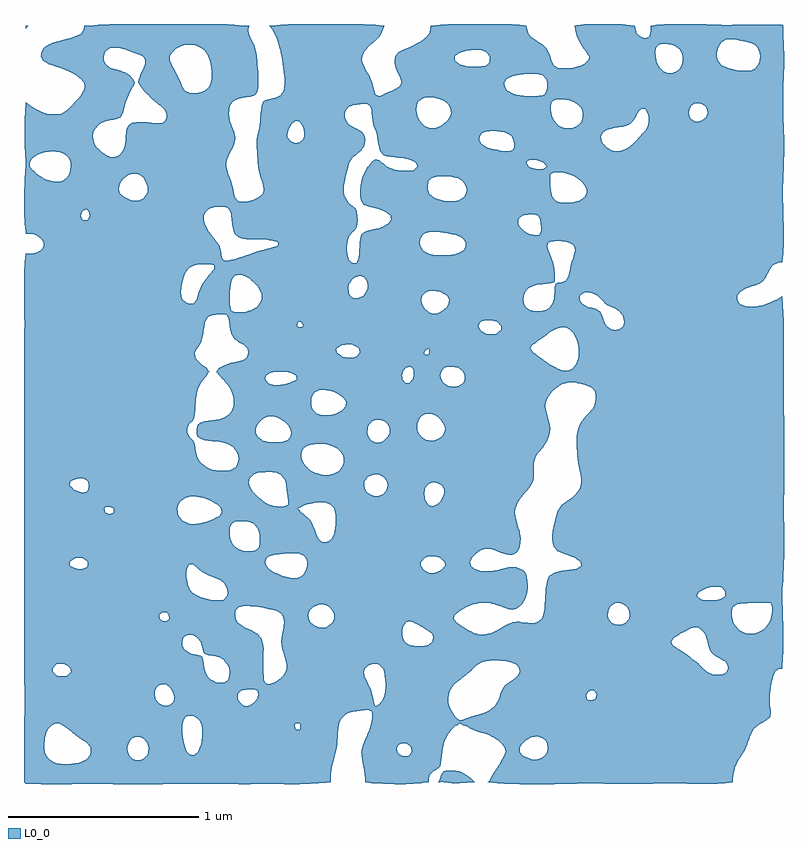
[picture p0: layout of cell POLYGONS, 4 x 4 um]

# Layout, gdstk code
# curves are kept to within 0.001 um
import gdstk
lib = gdstk.Library(unit=1e-6, precision=1e-09)
def P(c, l, *ps):  # polygons
    for p in ps: c.add(gdstk.Polygon(p, *l))
L0_0 = (0, 0)

polygons = lib.new_cell('POLYGONS')
P(polygons, L0_0, [(-1.81,-2),(-1.27,-2),(-1.13,-1.998),(-0.87,-2),(-0.55,-2),(-0.47,-1.997),(-0.386,-1.99),(-0.385,-1.95),(-0.38,-1.915),(-2,-1.915),(-1.998,-1.99),(-1.99,-1.998),(-1.91,-2)],
  [(0.01,-2),(0.07,-1.997),(0.13,-1.99),(0.13,-1.969),(0.136,-1.95),(0.15,-1.935),(0.17,-1.925),(0.182,-1.915),(-0.212,-1.915),(-0.209,-1.93),(-0.204,-1.99),(-0.17,-1.995),(-0.09,-1.999)],
  [(0.73,-2),(0.87,-1.999),(0.93,-1.997),(1.03,-1.997),(1.09,-1.999),(1.27,-1.999),(1.37,-1.995),(1.43,-1.995),(1.49,-1.998),(1.59,-1.999),(1.69,-1.996),(1.731,-1.99),(1.733,-1.95),(1.741,-1.915),(0.49,-1.915),(0.45,-1.982),(0.442,-1.99),(0.55,-1.999)],
  [(0.53,-1.843),(0.528,-1.85),(0.518,-1.87),(0.49,-1.915),(1.741,-1.915),(1.75,-1.893),(1.77,-1.858),(1.789,-1.83),(1.799,-1.81),(1.82,-1.75),(0.71,-1.75),(0.73,-1.758),(0.744,-1.77),(0.75,-1.779),(0.755,-1.79),(0.757,-1.81),(0.754,-1.83),(0.75,-1.838),(0.741,-1.85),(0.73,-1.859),(0.71,-1.869),(0.69,-1.872),(0.67,-1.87),(0.65,-1.863),(0.626,-1.85),(0.609,-1.83),(0.608,-1.81),(0.62,-1.79),(0.641,-1.77),(0.67,-1.754),(0.687,-1.75),(0.463,-1.75),(0.47,-1.753),(0.496,-1.77),(0.518,-1.79),(0.531,-1.81),(0.535,-1.83)],
  [(-0.223,-1.85),(-0.212,-1.915),(0.182,-1.915),(0.189,-1.91),(0.19,-1.907),(0.194,-1.89),(0.201,-1.83),(0.208,-1.79),(0.224,-1.75),(-0.197,-1.75),(-0.215,-1.79),(-0.221,-1.81),(-0.038,-1.81),(-0.03,-1.796),(-0.023,-1.79),(-0.01,-1.785),(0.01,-1.785),(0.019,-1.79),(0.03,-1.799),(0.037,-1.81),(0.04,-1.83),(0.03,-1.846),(0.025,-1.85),(0.01,-1.854),(-0.01,-1.852),(-0.015,-1.85),(-0.03,-1.838),(-0.036,-1.83),(-0.038,-1.81),(-0.221,-1.81),(-0.224,-1.83)],
  [(-1.89,-1.757),(-1.888,-1.75),(-1.999,-1.75),(-2,-1.915),(-0.38,-1.915),(-0.355,-1.81),(-0.352,-1.79),(-0.35,-1.75),(-1.061,-1.75),(-1.07,-1.797),(-1.084,-1.83),(-1.09,-1.837),(-1.11,-1.848),(-1.13,-1.844),(-1.143,-1.83),(-1.152,-1.81),(-1.164,-1.75),(-1.718,-1.75),(-1.688,-1.77),(-1.662,-1.79),(-1.65,-1.81),(-1.456,-1.81),(-1.45,-1.785),(-1.441,-1.77),(-1.43,-1.76),(-1.41,-1.751),(-1.39,-1.752),(-1.37,-1.763),(-1.363,-1.77),(-1.349,-1.79),(-1.344,-1.81),(-1.345,-1.83),(-1.35,-1.845),(-1.353,-1.85),(-1.37,-1.868),(-1.39,-1.876),(-1.41,-1.876),(-1.43,-1.867),(-1.446,-1.85),(-1.455,-1.83),(-1.456,-1.81),(-1.65,-1.81),(-1.648,-1.83),(-1.654,-1.85),(-1.67,-1.87),(-1.69,-1.88),(-1.721,-1.89),(-1.73,-1.892),(-1.77,-1.895),(-1.81,-1.894),(-1.831,-1.89),(-1.85,-1.883),(-1.87,-1.868),(-1.883,-1.85),(-1.891,-1.83),(-1.894,-1.81),(-1.894,-1.79)],
  [(-0.102,-1.53),(-0.11,-1.554),(-0.13,-1.581),(-0.15,-1.591),(-0.16,-1.57),(-0.166,-1.53),(-0.766,-1.53),(-0.772,-1.55),(-0.79,-1.572),(-0.81,-1.585),(-0.829,-1.59),(-0.85,-1.585),(-0.865,-1.57),(-0.874,-1.55),(-0.874,-1.53),(-1.211,-1.53),(-1.209,-1.55),(-1.215,-1.57),(-1.23,-1.584),(-1.25,-1.588),(-1.27,-1.585),(-1.29,-1.575),(-1.296,-1.57),(-1.309,-1.55),(-1.313,-1.53),(-1.996,-1.53),(-1.999,-1.75),(-1.888,-1.75),(-1.882,-1.73),(-1.87,-1.707),(-1.85,-1.687),(-1.83,-1.679),(-1.81,-1.682),(-1.79,-1.694),(-1.718,-1.75),(-1.164,-1.75),(-1.167,-1.71),(-1.163,-1.67),(-1.153,-1.65),(-1.15,-1.647),(-1.13,-1.64),(-1.11,-1.642),(-1.09,-1.652),(-1.073,-1.67),(-1.065,-1.69),(-0.575,-1.69),(-0.57,-1.679),(-0.55,-1.681),(-0.546,-1.69),(-0.547,-1.71),(-0.55,-1.715),(-0.57,-1.713),(-0.572,-1.71),(-0.575,-1.69),(-1.065,-1.69),(-1.062,-1.71),(-1.061,-1.75),(-0.35,-1.75),(-0.347,-1.71),(-0.338,-1.67),(-0.326,-1.65),(-0.31,-1.635),(-0.29,-1.625),(-0.27,-1.62),(-0.19,-1.61),(-0.17,-1.616),(-0.168,-1.63),(-0.168,-1.65),(-0.174,-1.69),(-0.18,-1.71),(-0.197,-1.75),(0.224,-1.75),(0.23,-1.739),(0.25,-1.713),(0.27,-1.694),(0.283,-1.69),(0.29,-1.681),(0.33,-1.697),(0.353,-1.71),(0.407,-1.73),(0.45,-1.743),(0.463,-1.75),(1.82,-1.75),(1.83,-1.728),(1.842,-1.71),(1.85,-1.701),(1.87,-1.686),(1.899,-1.67),(1.926,-1.65),(1.931,-1.63),(1.926,-1.59),(1.926,-1.53),(1.015,-1.53),(1.008,-1.55),(0.99,-1.559),(0.97,-1.558),(0.961,-1.55),(0.959,-1.53),(0.506,-1.53),(0.5,-1.55),(0.491,-1.57),(0.477,-1.59),(0.45,-1.613),(0.43,-1.623),(0.338,-1.65),(0.33,-1.655),(0.31,-1.663),(0.29,-1.664),(0.27,-1.647),(0.246,-1.61),(0.234,-1.57),(0.232,-1.55),(0.235,-1.53)],
  [(-2,-1.29),(-2,-1.33),(-1.063,-1.33),(-1.07,-1.325),(-1.09,-1.319),(-1.13,-1.311),(-1.15,-1.297),(-1.156,-1.29),(-1.166,-1.27),(-1.168,-1.25),(-1.162,-1.23),(-1.15,-1.22),(-1.13,-1.215),(-1.11,-1.218),(-1.087,-1.23),(-1.07,-1.252),(-1.054,-1.31),(-1.05,-1.315),(-1.03,-1.322),(-0.982,-1.33),(-0.74,-1.33),(-0.739,-1.29),(-0.745,-1.25),(-0.754,-1.23),(-0.77,-1.212),(-0.79,-1.198),(-0.805,-1.19),(-0.85,-1.17),(-0.874,-1.15),(-2,-1.15)],
  [(0.122,-1.27),(0.11,-1.273),(0.09,-1.275),(0.05,-1.273),(0.03,-1.269),(0.01,-1.257),(0.003,-1.25),(-0.007,-1.23),(-0.01,-1.213),(-0.01,-1.19),(-0.003,-1.17),(0.009,-1.15),(-0.377,-1.15),(-0.39,-1.163),(-0.401,-1.17),(-0.41,-1.174),(-0.43,-1.177),(-0.45,-1.174),(-0.462,-1.17),(-0.47,-1.166),(-0.49,-1.15),(-0.631,-1.15),(-0.645,-1.25),(-0.644,-1.27),(-0.64,-1.29),(-0.628,-1.33),(1.504,-1.33),(1.415,-1.27),(1.406,-1.25),(1.421,-1.23),(1.451,-1.21),(1.51,-1.181),(1.53,-1.176),(1.55,-1.177),(1.57,-1.192),(1.582,-1.21),(1.592,-1.23),(1.608,-1.29),(1.62,-1.31),(1.63,-1.32),(1.645,-1.33),(1.994,-1.33),(1.996,-1.29),(1.995,-1.15),(1.923,-1.15),(1.909,-1.17),(1.886,-1.19),(1.87,-1.199),(1.85,-1.206),(1.83,-1.209),(1.81,-1.209),(1.79,-1.204),(1.77,-1.194),(1.745,-1.17),(1.734,-1.15),(1.168,-1.15),(1.15,-1.158),(1.13,-1.161),(1.11,-1.159),(1.092,-1.15),(0.694,-1.15),(0.67,-1.153),(0.63,-1.15),(0.568,-1.15),(0.55,-1.156),(0.47,-1.2),(0.45,-1.208),(0.43,-1.213),(0.41,-1.215),(0.39,-1.212),(0.37,-1.206),(0.35,-1.197),(0.304,-1.17),(0.29,-1.158),(0.277,-1.15),(0.052,-1.15),(0.123,-1.19),(0.149,-1.21),(0.153,-1.23),(0.148,-1.25),(0.13,-1.266)],
  [(-0.631,-1.15),(-0.49,-1.15),(-0.502,-1.13),(-0.505,-1.11),(-0.498,-1.09),(-0.49,-1.079),(-0.48,-1.07),(-0.47,-1.064),(-0.45,-1.057),(-0.43,-1.055),(-0.41,-1.059),(-0.39,-1.07),(-0.375,-1.09),(-0.368,-1.11),(-0.368,-1.13),(-0.377,-1.15),(0.009,-1.15),(0.03,-1.144),(0.052,-1.15),(0.277,-1.15),(0.262,-1.13),(0.268,-1.11),(0.292,-1.09),(0.324,-1.07),(0.37,-1.052),(0.41,-1.045),(0.45,-1.047),(0.49,-1.058),(0.55,-1.081),(0.57,-1.084),(0.59,-1.078),(0.61,-1.064),(0.63,-1.038),(0.644,-1.01),(0.648,-0.99),(-0.928,-0.99),(-0.93,-1.01),(-0.948,-1.03),(-0.97,-1.034),(-1.01,-1.032),(-1.05,-1.023),(-1.085,-1.01),(-1.118,-0.99),(-2,-0.99),(-2,-1.11),(-1.287,-1.11),(-1.27,-1.095),(-1.25,-1.097),(-1.237,-1.11),(-1.236,-1.13),(-1.25,-1.144),(-1.27,-1.143),(-1.285,-1.13),(-1.287,-1.11),(-2,-1.11),(-2,-1.15),(-0.874,-1.15),(-0.885,-1.13),(-0.889,-1.11),(-0.887,-1.09),(-0.87,-1.069),(-0.85,-1.064),(-0.83,-1.063),(-0.79,-1.065),(-0.754,-1.07),(-0.69,-1.083),(-0.667,-1.09),(-0.65,-1.101),(-0.64,-1.11),(-0.632,-1.13)],
  [(0.742,-1.05),(0.739,-1.09),(0.73,-1.12),(0.724,-1.13),(0.71,-1.143),(0.694,-1.15),(1.092,-1.15),(1.076,-1.13),(1.072,-1.11),(1.074,-1.09),(1.083,-1.07),(1.09,-1.061),(1.107,-1.05),(1.13,-1.046),(1.148,-1.05),(1.17,-1.065),(1.185,-1.09),(1.188,-1.11),(1.185,-1.13),(1.168,-1.15),(1.734,-1.15),(1.728,-1.13),(1.725,-1.11),(1.725,-1.09),(1.729,-1.07),(1.75,-1.054),(1.769,-1.05),(1.79,-1.048),(1.91,-1.045),(1.932,-1.05),(1.938,-1.07),(1.935,-1.11),(1.931,-1.13),(1.923,-1.15),(1.995,-1.15),(1.991,-0.99),(1.691,-0.99),(1.69,-1.012),(1.67,-1.026),(1.65,-1.031),(1.61,-1.034),(1.59,-1.034),(1.57,-1.031),(1.566,-1.03),(1.55,-1.019),(1.542,-1.01),(1.55,-0.99),(0.745,-0.99)],
  [(0.61,-1.147),(0.59,-1.146),(0.57,-1.149),(0.568,-1.15),(0.627,-1.15)],
  [(0.57,-0.793),(0.578,-0.79),(0.536,-0.79),(0.55,-0.794)],
  [(1.992,-0.97),(1.999,-0.85),(2,-0.79),(0.849,-0.79),(0.9,-0.81),(0.91,-0.816),(0.929,-0.83),(0.934,-0.85),(0.93,-0.854),(0.91,-0.866),(0.897,-0.87),(0.85,-0.875),(0.81,-0.882),(0.787,-0.89),(0.77,-0.901),(0.762,-0.91),(0.754,-0.93),(0.75,-0.948),(0.745,-0.99),(1.55,-0.99),(1.59,-0.97),(1.63,-0.961),(1.65,-0.961),(1.67,-0.965),(1.678,-0.97),(1.691,-0.99),(1.991,-0.99)],
  [(-0.71,-0.801),(-0.657,-0.79),(-2,-0.79),(-2,-0.83),(-1.76,-0.83),(-1.75,-0.822),(-1.73,-0.813),(-1.715,-0.81),(-1.704,-0.81),(-1.69,-0.812),(-1.67,-0.824),(-1.665,-0.83),(-1.664,-0.85),(-1.67,-0.858),(-1.69,-0.868),(-1.71,-0.869),(-1.73,-0.865),(-1.75,-0.856),(-1.759,-0.85),(-1.76,-0.83),(-2,-0.83),(-2,-0.99),(-1.118,-0.99),(-1.13,-0.973),(-1.137,-0.95),(-1.142,-0.93),(-1.146,-0.89),(-1.143,-0.87),(-1.135,-0.85),(-1.13,-0.845),(-1.11,-0.844),(-1.09,-0.858),(-1.079,-0.87),(-1.051,-0.89),(-1.03,-0.901),(-0.97,-0.924),(-0.962,-0.93),(-0.942,-0.95),(-0.932,-0.97),(-0.928,-0.99),(0.648,-0.99),(0.65,-0.95),(0.647,-0.91),(0.64,-0.89),(0.63,-0.877),(0.61,-0.866),(0.59,-0.86),(0.57,-0.859),(0.55,-0.86),(0.51,-0.87),(0.47,-0.878),(0.45,-0.88),(0.41,-0.88),(0.39,-0.875),(0.37,-0.866),(0.351,-0.85),(0.347,-0.83),(0.357,-0.81),(0.375,-0.79),(-0.546,-0.79),(-0.53,-0.797),(-0.517,-0.81),(-0.51,-0.83),(-0.51,-0.85),(0.088,-0.85),(0.089,-0.83),(0.108,-0.81),(0.13,-0.802),(0.15,-0.8),(0.17,-0.803),(0.19,-0.81),(0.214,-0.83),(0.216,-0.85),(0.201,-0.87),(0.19,-0.877),(0.17,-0.886),(0.153,-0.89),(0.13,-0.888),(0.11,-0.878),(0.1,-0.87),(0.088,-0.85),(-0.51,-0.85),(-0.515,-0.87),(-0.524,-0.89),(-0.53,-0.898),(-0.55,-0.913),(-0.57,-0.918),(-0.59,-0.917),(-0.63,-0.908),(-0.675,-0.89),(-0.71,-0.87),(-0.725,-0.85),(-0.729,-0.83),(-0.723,-0.81)],
  [(2,-0.77),(1.999,-0.53),(0.831,-0.53),(0.816,-0.55),(0.807,-0.57),(0.79,-0.63),(0.78,-0.69),(0.779,-0.71),(0.782,-0.73),(0.79,-0.752),(0.805,-0.77),(0.81,-0.774),(0.83,-0.784),(0.849,-0.79),(2,-0.79)],
  [(-0.53,-0.536),(-0.517,-0.53),(-0.61,-0.53),(-0.63,-0.538),(-0.65,-0.54),(-0.69,-0.536),(-0.71,-0.53),(-0.98,-0.53),(-0.961,-0.55),(-0.958,-0.57),(-0.972,-0.59),(-1.013,-0.61),(-1.05,-0.623),(-1.083,-0.63),(-1.11,-0.632),(-1.13,-0.63),(-1.15,-0.623),(-1.171,-0.61),(-1.186,-0.59),(-1.192,-0.57),(-1.193,-0.55),(-1.187,-0.53),(-1.999,-0.53),(-1.999,-0.55),(-1.578,-0.55),(-1.57,-0.542),(-1.55,-0.54),(-1.528,-0.55),(-1.528,-0.57),(-1.53,-0.573),(-1.55,-0.579),(-1.573,-0.57),(-1.578,-0.55),(-1.999,-0.55),(-1.999,-0.67),(-0.918,-0.67),(-0.916,-0.65),(-0.906,-0.63),(-0.89,-0.62),(-0.87,-0.616),(-0.85,-0.616),(-0.83,-0.617),(-0.81,-0.622),(-0.79,-0.631),(-0.772,-0.65),(-0.77,-0.654),(-0.764,-0.67),(-0.76,-0.69),(-0.759,-0.71),(-0.763,-0.75),(-0.77,-0.763),(-0.78,-0.77),(-0.79,-0.773),(-0.83,-0.775),(-0.85,-0.772),(-0.87,-0.764),(-0.89,-0.75),(-0.906,-0.73),(-0.914,-0.71),(-0.918,-0.67),(-1.999,-0.67),(-2,-0.79),(-0.657,-0.79),(-0.61,-0.786),(-0.57,-0.786),(-0.546,-0.79),(0.375,-0.79),(0.39,-0.778),(0.41,-0.766),(0.43,-0.761),(0.45,-0.762),(0.47,-0.766),(0.53,-0.789),(0.578,-0.79),(0.59,-0.784),(0.602,-0.77),(0.61,-0.75),(0.613,-0.73),(0.614,-0.71),(0.612,-0.69),(0.608,-0.67),(0.595,-0.63),(0.585,-0.59),(0.584,-0.57),(0.586,-0.55),(0.593,-0.53),(0.172,-0.53),(0.15,-0.537),(0.13,-0.532),(0.128,-0.53),(-0.386,-0.53),(-0.367,-0.55),(-0.361,-0.57),(-0.358,-0.61),(-0.361,-0.65),(-0.369,-0.69),(-0.38,-0.71),(-0.39,-0.719),(-0.41,-0.727),(-0.43,-0.727),(-0.45,-0.712),(-0.474,-0.65),(-0.49,-0.618),(-0.51,-0.595),(-0.53,-0.577),(-0.544,-0.57),(-0.55,-0.558),(-0.56,-0.55)],
  [(1.999,-0.51),(2,-0.336),(0.922,-0.336),(0.93,-0.375),(0.933,-0.41),(0.93,-0.43),(0.922,-0.45),(0.908,-0.47),(0.89,-0.488),(0.831,-0.53),(1.999,-0.53)],
  [(-2,-0.47),(-1.999,-0.53),(-1.187,-0.53),(-1.174,-0.51),(-1.15,-0.494),(-1.13,-0.487),(-1.11,-0.486),(-1.09,-0.487),(-1.05,-0.497),(-1.017,-0.51),(-0.98,-0.53),(-0.71,-0.53),(-0.73,-0.52),(-0.75,-0.505),(-0.768,-0.49),(-0.788,-0.47),(-0.804,-0.45),(-0.814,-0.43),(-0.816,-0.41),(-0.811,-0.39),(-0.79,-0.37),(-0.77,-0.363),(-0.71,-0.357),(-0.67,-0.363),(-0.65,-0.372),(-0.63,-0.393),(-0.623,-0.41),(-0.62,-0.43),(-0.21,-0.43),(-0.208,-0.41),(-0.197,-0.39),(-0.19,-0.384),(-0.17,-0.374),(-0.15,-0.37),(-0.13,-0.373),(-0.11,-0.383),(-0.102,-0.39),(-0.09,-0.406),(-0.088,-0.41),(-0.085,-0.43),(-0.09,-0.448),(-0.105,-0.47),(-0.11,-0.474),(-0.13,-0.484),(-0.15,-0.486),(-0.17,-0.481),(-0.189,-0.47),(-0.204,-0.45),(-0.21,-0.43),(-0.62,-0.43),(-0.609,-0.51),(-0.61,-0.53),(-0.517,-0.53),(-0.45,-0.517),(-0.43,-0.517),(-0.41,-0.52),(-0.39,-0.527),(-0.386,-0.53),(0.128,-0.53),(0.115,-0.51),(0.108,-0.49),(0.106,-0.47),(0.109,-0.45),(0.119,-0.43),(0.13,-0.419),(0.15,-0.413),(0.17,-0.415),(0.19,-0.423),(0.201,-0.43),(0.212,-0.45),(0.212,-0.47),(0.205,-0.49),(0.19,-0.514),(0.172,-0.53),(0.593,-0.53),(0.603,-0.51),(0.617,-0.49),(0.668,-0.43),(0.678,-0.41),(0.683,-0.39),(0.684,-0.37),(0.682,-0.336),(-0.33,-0.336),(-0.342,-0.35),(-0.35,-0.356),(-0.37,-0.366),(-0.39,-0.372),(-0.41,-0.374),(-0.43,-0.373),(-0.47,-0.361),(-0.49,-0.35),(-0.508,-0.336),(-0.89,-0.336),(-0.91,-0.346),(-0.928,-0.35),(-0.95,-0.352),(-0.99,-0.349),(-1.01,-0.345),(-1.032,-0.336),(-1.999,-0.336),(-2,-0.43),(-1.758,-0.43),(-1.756,-0.41),(-1.75,-0.405),(-1.73,-0.395),(-1.71,-0.39),(-1.69,-0.392),(-1.67,-0.401),(-1.663,-0.41),(-1.658,-0.43),(-1.661,-0.45),(-1.67,-0.462),(-1.69,-0.467),(-1.71,-0.463),(-1.73,-0.455),(-1.739,-0.45),(-1.758,-0.43),(-2,-0.43)],
  [(-1.999,-0.17),(-1.999,-0.336),(-1.032,-0.336),(-1.05,-0.326),(-1.07,-0.31),(-1.084,-0.29),(-1.091,-0.27),(-1.102,-0.21),(-1.112,-0.19),(-1.13,-0.172),(-1.14,-0.15),(-1.141,-0.13),(-1.133,-0.11),(-1.125,-0.099),(-1.999,-0.099)],
  [(-1.088,-0.17),(-1.07,-0.184),(-1.05,-0.19),(-0.97,-0.199),(-0.95,-0.203),(-0.929,-0.21),(-0.91,-0.22),(-0.896,-0.23),(-0.881,-0.25),(-0.873,-0.27),(-0.871,-0.29),(-0.874,-0.31),(-0.883,-0.33),(-0.89,-0.336),(-0.508,-0.336),(-0.515,-0.33),(-0.53,-0.31),(-0.538,-0.29),(-0.541,-0.27),(-0.538,-0.25),(-0.526,-0.23),(-0.51,-0.22),(-0.49,-0.214),(-0.45,-0.209),(-0.41,-0.212),(-0.37,-0.224),(-0.35,-0.236),(-0.334,-0.25),(-0.321,-0.27),(-0.317,-0.29),(-0.318,-0.31),(-0.325,-0.33),(-0.33,-0.336),(0.682,-0.336),(0.683,-0.31),(0.687,-0.29),(0.697,-0.27),(0.73,-0.229),(0.75,-0.198),(0.762,-0.17),(0.767,-0.15),(0.769,-0.13),(0.767,-0.11),(0.764,-0.099),(0.204,-0.099),(0.211,-0.11),(0.216,-0.13),(0.213,-0.15),(0.21,-0.156),(0.2,-0.17),(0.19,-0.178),(0.17,-0.188),(0.15,-0.193),(0.13,-0.192),(0.11,-0.186),(0.087,-0.17),(0.074,-0.15),(0.07,-0.135),(0.069,-0.11),(0.072,-0.099),(-0.091,-0.099),(-0.082,-0.11),(-0.075,-0.13),(-0.076,-0.15),(-0.084,-0.17),(-0.09,-0.178),(-0.11,-0.195),(-0.13,-0.203),(-0.15,-0.203),(-0.17,-0.194),(-0.188,-0.17),(-0.193,-0.15),(-0.192,-0.13),(-0.186,-0.11),(-0.176,-0.099),(-0.622,-0.099),(-0.61,-0.111),(-0.598,-0.13),(-0.594,-0.15),(-0.597,-0.17),(-0.61,-0.187),(-0.614,-0.19),(-0.63,-0.196),(-0.65,-0.2),(-0.69,-0.202),(-0.71,-0.201),(-0.73,-0.197),(-0.748,-0.19),(-0.772,-0.17),(-0.779,-0.15),(-0.779,-0.13),(-0.772,-0.11),(-0.764,-0.099),(-1.072,-0.099),(-1.085,-0.11),(-1.09,-0.13),(-1.091,-0.15)],
  [(2,-0.33),(2,-0.099),(0.93,-0.099),(0.916,-0.13),(0.912,-0.15),(0.909,-0.19),(0.91,-0.23),(0.914,-0.29),(0.922,-0.336),(2,-0.336)],
  [(-1.115,-0.09),(-1.104,-0.07),(-1.099,-0.03),(-1.095,0.03),(-1.087,0.07),(-1.081,0.09),(-1.07,0.112),(-1.055,0.13),(-2,0.13),(-1.999,-0.099),(-1.125,-0.099)],
  [(-0.903,-0.03),(-0.916,-0.05),(-0.93,-0.062),(-0.95,-0.073),(-0.97,-0.08),(-1.05,-0.091),(-1.072,-0.099),(-0.764,-0.099),(-0.75,-0.083),(-0.728,-0.07),(-0.71,-0.065),(-0.69,-0.065),(-0.669,-0.07),(-0.65,-0.079),(-0.632,-0.09),(-0.622,-0.099),(-0.176,-0.099),(-0.17,-0.092),(-0.15,-0.084),(-0.13,-0.083),(-0.11,-0.087),(-0.091,-0.099),(0.072,-0.099),(0.074,-0.09),(0.09,-0.065),(0.11,-0.053),(0.13,-0.05),(0.15,-0.053),(0.17,-0.063),(0.19,-0.08),(0.199,-0.09),(0.204,-0.099),(0.764,-0.099),(0.746,-0.03),(0.744,-0.01),(0.746,0.01),(0.754,0.03),(0.77,0.055),(0.79,0.076),(0.81,0.091),(0.83,0.103),(0.85,0.11),(0.87,0.114),(0.89,0.114),(0.93,0.107),(0.979,0.09),(0.99,0.084),(1.003,0.07),(1.009,0.05),(1.007,0.01),(1.001,-0.01),(0.99,-0.029),(0.951,-0.07),(0.93,-0.099),(2,-0.099),(1.998,0.13),(0.32,0.13),(0.31,0.109),(0.29,0.095),(0.27,0.09),(0.25,0.091),(0.23,0.097),(0.21,0.11),(0.196,0.13),(0.045,0.13),(0.03,0.111),(0.01,0.108),(-0.008,0.13),(-0.565,0.13),(-0.57,0.126),(-0.603,0.11),(-0.65,0.101),(-0.67,0.1),(-0.69,0.101),(-0.71,0.106),(-0.715,0.11),(-0.73,0.13),(-0.955,0.13),(-0.95,0.127),(-0.93,0.103),(-0.91,0.071),(-0.902,0.05),(-0.897,0.03),(-0.895,0.01),(-0.489,0.01),(-0.487,0.03),(-0.481,0.05),(-0.47,0.063),(-0.45,0.072),(-0.43,0.074),(-0.39,0.07),(-0.37,0.064),(-0.34,0.05),(-0.316,0.03),(-0.305,0.01),(-0.306,-0.01),(-0.322,-0.03),(-0.35,-0.046),(-0.37,-0.054),(-0.41,-0.06),(-0.43,-0.059),(-0.45,-0.054),(-0.459,-0.05),(-0.47,-0.041),(-0.479,-0.03),(-0.487,-0.01),(-0.489,0.01),(-0.895,0.01),(-0.896,-0.01)],
  [(-1.05,0.139),(-1.037,0.15),(-1.03,0.166),(-1.023,0.17),(-1.03,0.176),(-1.038,0.19),(-1.05,0.197),(-1.07,0.213),(-1.088,0.23),(-1.1,0.25),(-1.102,0.27),(-1.092,0.29),(-1.077,0.31),(-1.067,0.33),(-1.061,0.35),(-1.056,0.379),(-1.998,0.379),(-2,0.27),(-2,0.13),(-1.055,0.13)],
  [(-0.824,0.25),(-0.83,0.242),(-0.85,0.23),(-0.931,0.21),(-0.95,0.202),(-0.972,0.19),(-0.988,0.17),(-0.955,0.13),(-0.73,0.13),(-0.728,0.15),(-0.71,0.163),(-0.69,0.168),(-0.672,0.17),(-0.63,0.169),(-0.59,0.161),(-0.567,0.15),(-0.565,0.13),(-0.008,0.13),(-0.011,0.15),(-0.006,0.17),(0.01,0.192),(0.03,0.197),(0.044,0.19),(0.05,0.177),(0.05,0.149),(0.045,0.13),(0.196,0.13),(0.192,0.15),(0.195,0.17),(0.21,0.189),(0.23,0.195),(0.25,0.196),(0.27,0.194),(0.29,0.189),(0.31,0.173),(0.32,0.15),(0.32,0.13),(1.998,0.13),(1.999,0.379),(0.885,0.379),(0.89,0.375),(0.905,0.35),(0.913,0.33),(0.92,0.29),(0.921,0.27),(0.919,0.25),(0.915,0.23),(0.91,0.216),(0.892,0.19),(0.87,0.177),(0.85,0.174),(0.83,0.177),(0.81,0.185),(0.765,0.21),(0.736,0.23),(0.69,0.265),(0.681,0.27),(0.665,0.29),(0.672,0.31),(0.71,0.335),(0.77,0.379),(0.499,0.379),(0.486,0.37),(0.47,0.367),(0.45,0.367),(0.43,0.37),(0.414,0.379),(-0.911,0.379),(-0.908,0.37),(-0.897,0.35),(-0.89,0.342),(-0.87,0.326),(-0.842,0.31),(-0.83,0.299),(-0.823,0.29),(-0.356,0.29),(-0.35,0.296),(-0.33,0.309),(-0.31,0.313),(-0.29,0.314),(-0.266,0.31),(-0.25,0.302),(-0.235,0.29),(-0.233,0.27),(0.106,0.27),(0.11,0.278),(0.125,0.29),(0.13,0.292),(0.132,0.29),(0.134,0.27),(0.13,0.261),(0.11,0.259),(0.106,0.27),(-0.233,0.27),(-0.253,0.25),(-0.27,0.244),(-0.29,0.243),(-0.31,0.246),(-0.324,0.25),(-0.35,0.267),(-0.354,0.27),(-0.356,0.29),(-0.823,0.29),(-0.819,0.27)],
  [(-1.173,0.57),(-1.175,0.59),(-1.173,0.61),(-1.164,0.65),(-1.15,0.693),(-1.139,0.71),(-1.13,0.718),(-1.11,0.728),(-1.07,0.735),(-1.03,0.736),(-1.01,0.734),(-0.998,0.73),(-1,0.71),(-1.01,0.7),(-1.015,0.69),(-1.03,0.675),(-1.05,0.649),(-1.071,0.61),(-1.085,0.57),(-0.917,0.57),(-0.915,0.61),(-0.908,0.65),(-0.896,0.67),(-0.89,0.675),(-0.87,0.68),(-0.85,0.678),(-0.83,0.67),(-0.81,0.658),(-0.79,0.641),(-0.779,0.63),(-0.764,0.61),(-0.753,0.59),(-0.748,0.57),(-0.284,0.57),(-0.29,0.582),(-0.292,0.59),(-0.293,0.61),(-0.29,0.63),(-0.27,0.659),(-0.25,0.671),(-0.23,0.676),(-0.21,0.667),(-0.197,0.65),(-0.19,0.63),(-0.191,0.61),(-0.198,0.59),(-0.213,0.57),(0.097,0.57),(0.11,0.583),(0.121,0.59),(0.13,0.593),(0.15,0.596),(0.191,0.59),(0.21,0.581),(0.228,0.57),(0.63,0.57),(0.637,0.59),(0.65,0.606),(0.67,0.618),(0.69,0.625),(0.71,0.629),(0.77,0.635),(0.79,0.64),(0.793,0.65),(0.793,0.69),(0.791,0.71),(0.782,0.75),(0.767,0.79),(0.275,0.79),(0.23,0.783),(0.21,0.782),(0.17,0.783),(0.15,0.785),(0.13,0.79),(-0.236,0.79),(-0.239,0.77),(-0.245,0.75),(-0.25,0.742),(-0.27,0.741),(-0.29,0.76),(-0.298,0.79),(-0.807,0.79),(-0.89,0.763),(-0.93,0.754),(-0.95,0.756),(-0.959,0.77),(-0.962,0.79),(-1.991,0.79),(-1.996,0.75),(-1.999,0.69),(-2,0.57)],
  [(1.769,0.59),(1.79,0.604),(1.802,0.61),(1.85,0.625),(1.87,0.634),(1.89,0.649),(1.906,0.67),(1.924,0.71),(1.941,0.73),(1.95,0.736),(1.97,0.743),(1.99,0.745),(1.995,0.79),(0.896,0.79),(0.878,0.73),(0.87,0.685),(0.864,0.67),(0.85,0.65),(0.83,0.642),(0.81,0.638),(0.795,0.63),(0.792,0.57),(0.926,0.57),(0.93,0.575),(0.95,0.588),(0.97,0.589),(0.99,0.584),(1.021,0.57),(1.755,0.57)],
  [(-1.69,0.966),(-1.694,0.97),(-1.701,0.99),(-1.696,1.01),(-1.998,1.01),(-1.996,0.95),(-1.99,0.896),(-1.97,0.897),(-1.95,0.894),(-1.93,0.885),(-1.91,0.87),(-1.897,0.85),(-1.896,0.83),(-1.908,0.81),(-1.93,0.798),(-1.95,0.793),(-1.97,0.792),(-1.99,0.794),(-1.991,0.79),(-0.962,0.79),(-0.965,0.81),(-0.971,0.83),(-0.982,0.85),(-1.01,0.883),(-1.029,0.91),(-1.041,0.93),(-1.05,0.95),(-1.055,0.97),(-1.055,0.99),(-1.046,1.01),(-1.656,1.01),(-1.653,0.99),(-1.664,0.97),(-1.67,0.966)],
  [(-0.301,0.81),(-0.299,0.85),(-0.29,0.881),(-0.27,0.906),(-0.264,0.91),(-0.25,0.93),(-0.244,0.97),(-0.248,1.01),(-0.912,1.01),(-0.902,0.93),(-0.896,0.91),(-0.89,0.896),(-0.87,0.877),(-0.85,0.87),(-0.83,0.868),(-0.73,0.866),(-0.71,0.863),(-0.661,0.85),(-0.665,0.83),(-0.77,0.803),(-0.807,0.79),(-0.298,0.79)],
  [(-0.235,0.81),(-0.236,0.79),(0.129,0.79),(0.11,0.801),(0.099,0.81),(0.086,0.83),(0.083,0.85),(0.086,0.87),(0.098,0.89),(0.11,0.899),(0.13,0.905),(0.15,0.907),(0.21,0.902),(0.27,0.89),(0.29,0.883),(0.31,0.872),(0.326,0.85),(0.326,0.83),(0.314,0.81),(0.31,0.806),(0.29,0.795),(0.275,0.79),(0.767,0.79),(0.755,0.83),(0.76,0.85),(0.77,0.854),(0.81,0.858),(0.83,0.857),(0.871,0.85),(0.89,0.837),(0.896,0.83),(0.9,0.81),(0.896,0.79),(1.995,0.79),(1.998,0.83),(1.997,1.01),(-0.094,1.01),(-0.071,0.99),(-0.068,0.97),(-0.084,0.95),(0.601,0.95),(0.602,0.97),(0.622,0.99),(0.65,0.997),(0.67,0.999),(0.69,0.997),(0.707,0.99),(0.71,0.987),(0.717,0.97),(0.721,0.95),(0.723,0.93),(0.722,0.91),(0.711,0.89),(0.69,0.888),(0.67,0.892),(0.65,0.9),(0.63,0.912),(0.61,0.931),(0.601,0.95),(-0.084,0.95),(-0.11,0.934),(-0.13,0.926),(-0.19,0.913),(-0.21,0.905),(-0.225,0.89),(-0.23,0.87)],
  [(-0.75,1.101),(-0.762,1.09),(-0.77,1.085),(-0.81,1.069),(-0.83,1.065),(-0.85,1.065),(-0.875,1.07),(-0.891,1.09),(-0.904,1.15),(-0.92,1.198),(-1.38,1.198),(-1.37,1.189),(-1.359,1.17),(-1.351,1.15),(-1.349,1.13),(-1.352,1.11),(-1.364,1.09),(-1.37,1.084),(-1.39,1.073),(-1.41,1.069),(-1.43,1.071),(-1.47,1.087),(-1.495,1.11),(-1.502,1.13),(-1.5,1.15),(-1.49,1.17),(-1.473,1.19),(-1.462,1.198),(-1.769,1.198),(-1.79,1.178),(-1.81,1.171),(-1.83,1.169),(-1.87,1.177),(-1.89,1.184),(-1.914,1.198),(-1.995,1.198),(-1.998,1.13),(-1.998,1.01),(-1.696,1.01),(-1.69,1.018),(-1.67,1.024),(-1.656,1.01),(-1.046,1.01),(-1.03,1.025),(-1.01,1.034),(-0.99,1.038),(-0.97,1.039),(-0.95,1.038),(-0.93,1.034),(-0.924,1.03),(-0.912,1.01),(-0.248,1.01),(-0.25,1.017),(-0.257,1.03),(-0.29,1.057),(-0.3,1.07),(-0.311,1.09),(-0.316,1.11),(-0.317,1.13),(-0.316,1.15),(-0.31,1.19),(-0.307,1.198),(-0.756,1.198),(-0.74,1.15),(-0.737,1.13),(-0.742,1.11)],
  [(-0.23,1.117),(-0.229,1.09),(-0.226,1.07),(-0.213,1.05),(-0.19,1.04),(-0.13,1.026),(-0.094,1.01),(1.997,1.01),(1.993,1.09),(1.993,1.13),(1.996,1.198),(0.895,1.198),(0.91,1.19),(0.93,1.175),(0.952,1.15),(0.962,1.13),(0.962,1.11),(0.951,1.09),(0.93,1.074),(0.91,1.066),(0.87,1.059),(0.83,1.06),(0.81,1.064),(0.79,1.077),(0.781,1.09),(0.775,1.11),(0.771,1.15),(0.769,1.19),(0.77,1.198),(0.23,1.198),(0.25,1.196),(0.29,1.186),(0.312,1.17),(0.325,1.15),(0.33,1.13),(0.328,1.11),(0.316,1.09),(0.29,1.073),(0.27,1.068),(0.23,1.067),(0.207,1.07),(0.19,1.074),(0.17,1.081),(0.15,1.091),(0.131,1.11),(0.126,1.13),(0.125,1.15),(0.127,1.17),(0.13,1.176),(0.147,1.19),(0.17,1.196),(0.189,1.198),(-0.216,1.198),(-0.228,1.15)],
  [(-1.993,1.23),(-1.995,1.198),(-1.914,1.198),(-1.932,1.21),(-1.954,1.23),(-1.969,1.25),(-1.971,1.27),(-1.97,1.273),(-1.96,1.29),(-1.93,1.312),(-1.91,1.32),(-1.89,1.325),(-1.85,1.329),(-1.81,1.326),(-1.79,1.318),(-1.778,1.31),(-1.77,1.302),(-1.762,1.29),(-1.755,1.27),(-1.754,1.25),(-1.756,1.23),(-1.762,1.21),(-1.769,1.198),(-1.462,1.198),(-1.45,1.206),(-1.438,1.21),(-1.43,1.212),(-1.41,1.213),(-1.39,1.207),(-1.38,1.198),(-0.92,1.198),(-0.931,1.23),(-0.936,1.25),(-0.935,1.27),(-0.93,1.291),(-0.913,1.33),(-0.902,1.35),(-0.894,1.37),(-1.468,1.37),(-1.472,1.35),(-1.48,1.33),(-1.49,1.316),(-1.51,1.303),(-1.53,1.3),(-1.55,1.302),(-1.57,1.311),(-1.59,1.325),(-1.616,1.35),(-1.629,1.37),(-1.996,1.37),(-1.992,1.29)],
  [(-0.304,1.21),(-0.288,1.27),(-0.276,1.29),(-0.27,1.298),(-0.23,1.33),(-0.214,1.35),(-0.206,1.37),(-0.775,1.37),(-0.768,1.25),(-0.765,1.23),(-0.756,1.198),(-0.307,1.198)],
  [(0.071,1.25),(0.048,1.23),(0.01,1.227),(-0.03,1.229),(-0.05,1.234),(-0.09,1.249),(-0.11,1.267),(-0.116,1.27),(-0.13,1.284),(-0.15,1.287),(-0.17,1.274),(-0.19,1.248),(-0.212,1.21),(-0.216,1.198),(0.77,1.198),(0.771,1.21),(0.79,1.221),(0.83,1.219),(0.85,1.215),(0.87,1.209),(0.895,1.198),(1.996,1.198),(1.999,1.25),(2,1.37),(1.207,1.37),(1.17,1.344),(1.15,1.335),(1.13,1.33),(1.11,1.33),(1.09,1.336),(1.067,1.35),(1.047,1.37),(0.58,1.37),(0.579,1.35),(0.57,1.335),(0.553,1.33),(0.53,1.33),(0.51,1.333),(0.45,1.347),(0.43,1.355),(0.406,1.37),(-0.135,1.37),(-0.124,1.33),(-0.107,1.31),(-0.09,1.303),(-0.01,1.295),(0.02,1.29),(0.05,1.277),(0.062,1.27),(0.643,1.27),(0.65,1.279),(0.67,1.286),(0.69,1.285),(0.71,1.281),(0.736,1.27),(0.75,1.25),(0.73,1.235),(0.71,1.235),(0.67,1.244),(0.656,1.25),(0.643,1.27),(0.062,1.27)],
  [(-1.996,1.37),(-1.629,1.37),(-1.636,1.39),(-1.639,1.41),(-1.635,1.43),(-1.63,1.441),(-1.625,1.45),(-1.61,1.467),(-1.59,1.479),(-1.57,1.487),(-1.55,1.493),(-1.51,1.501),(-1.492,1.51),(-1.995,1.51),(-1.997,1.43)],
  [(-0.89,1.385),(-0.888,1.39),(-0.889,1.41),(-0.894,1.43),(-0.91,1.47),(-0.92,1.51),(-1.25,1.51),(-1.256,1.49),(-1.27,1.479),(-1.29,1.477),(-1.37,1.483),(-1.41,1.482),(-1.43,1.479),(-1.446,1.47),(-1.45,1.466),(-1.458,1.45),(-1.468,1.37),(-0.894,1.37)],
  [(0.576,1.39),(0.58,1.37),(1.047,1.37),(1.037,1.39),(1.036,1.41),(1.05,1.432),(1.07,1.443),(1.089,1.45),(1.15,1.459),(1.17,1.464),(1.19,1.474),(1.207,1.49),(1.219,1.51),(0.942,1.51),(0.936,1.49),(0.93,1.48),(0.921,1.47),(0.91,1.462),(0.89,1.454),(0.87,1.451),(0.85,1.451),(0.83,1.456),(0.81,1.468),(0.79,1.49),(0.78,1.51),(0.242,1.51),(0.23,1.493),(0.203,1.47),(0.19,1.462),(0.17,1.455),(0.15,1.452),(0.13,1.454),(0.11,1.463),(0.09,1.481),(0.083,1.49),(0.073,1.51),(-0.167,1.51),(-0.161,1.47),(-0.146,1.43),(-0.135,1.37),(0.406,1.37),(0.396,1.39),(0.398,1.41),(0.41,1.424),(0.43,1.433),(0.47,1.437),(0.51,1.434),(0.53,1.43),(0.55,1.421),(0.567,1.41)],
  [(2,1.39),(1.997,1.51),(1.59,1.51),(1.57,1.493),(1.55,1.486),(1.53,1.487),(1.524,1.49),(1.51,1.501),(1.505,1.51),(1.288,1.51),(1.289,1.49),(1.285,1.47),(1.277,1.45),(1.27,1.439),(1.25,1.419),(1.227,1.39),(1.207,1.37),(2,1.37)],
  [(-0.775,1.37),(-0.206,1.37),(-0.203,1.39),(-0.207,1.41),(-0.22,1.43),(-0.25,1.449),(-0.289,1.47),(-0.304,1.49),(-0.312,1.51),(-0.756,1.51),(-0.757,1.49),(-0.763,1.45),(-0.772,1.41),(-0.614,1.41),(-0.613,1.43),(-0.606,1.45),(-0.59,1.475),(-0.57,1.49),(-0.55,1.485),(-0.538,1.47),(-0.528,1.45),(-0.524,1.43),(-0.524,1.41),(-0.532,1.39),(-0.55,1.377),(-0.57,1.373),(-0.59,1.38),(-0.605,1.39),(-0.614,1.41),(-0.772,1.41)],
  [(-1.49,1.512),(-1.48,1.53),(-1.47,1.57),(-1.457,1.61),(-1.438,1.65),(-1.686,1.65),(-1.697,1.63),(-1.712,1.61),(-1.749,1.57),(-1.77,1.55),(-1.79,1.535),(-1.81,1.526),(-1.85,1.524),(-1.87,1.525),(-1.892,1.53),(-1.91,1.537),(-1.93,1.548),(-1.966,1.57),(-1.99,1.588),(-1.995,1.51),(-1.492,1.51)],
  [(-0.922,1.53),(-0.921,1.55),(-0.916,1.57),(-0.902,1.59),(-0.89,1.599),(-0.87,1.607),(-0.79,1.623),(-0.78,1.63),(-0.77,1.65),(-1.048,1.65),(-1.07,1.641),(-1.09,1.636),(-1.11,1.635),(-1.13,1.637),(-1.154,1.65),(-1.369,1.65),(-1.331,1.61),(-1.281,1.57),(-1.26,1.55),(-1.251,1.53),(-1.25,1.51),(-0.92,1.51)],
  [(-0.169,1.53),(-0.167,1.51),(0.073,1.51),(0.067,1.53),(0.065,1.55),(0.067,1.57),(0.075,1.59),(0.09,1.605),(0.102,1.61),(0.13,1.615),(0.15,1.614),(0.171,1.61),(0.19,1.604),(0.21,1.595),(0.218,1.59),(0.23,1.579),(0.238,1.57),(0.247,1.55),(0.248,1.53),(0.242,1.51),(0.78,1.51),(0.774,1.53),(0.772,1.55),(0.772,1.57),(0.778,1.59),(0.79,1.599),(0.81,1.603),(0.85,1.602),(0.87,1.598),(0.89,1.591),(0.91,1.58),(0.923,1.57),(0.937,1.55),(0.942,1.53),(0.942,1.51),(1.219,1.51),(1.23,1.534),(1.243,1.55),(1.25,1.555),(1.27,1.553),(1.273,1.55),(1.284,1.53),(1.288,1.51),(1.505,1.51),(1.499,1.53),(1.501,1.55),(1.51,1.568),(1.53,1.582),(1.55,1.584),(1.57,1.578),(1.582,1.57),(1.59,1.561),(1.596,1.55),(1.598,1.53),(1.59,1.51),(1.997,1.51),(1.995,1.57),(1.997,1.65),(0.751,1.65),(0.74,1.63),(0.73,1.625),(0.69,1.621),(0.65,1.621),(0.59,1.628),(0.57,1.635),(0.55,1.645),(0.544,1.65),(-0.061,1.65),(-0.13,1.62),(-0.15,1.628),(-0.157,1.65),(-0.634,1.65),(-0.646,1.63),(-0.65,1.626),(-0.67,1.615),(-0.71,1.605),(-0.73,1.598),(-0.74,1.59),(-0.749,1.57),(-0.756,1.51),(-0.312,1.51),(-0.313,1.53),(-0.31,1.539),(-0.305,1.55),(-0.29,1.564),(-0.27,1.572),(-0.25,1.576),(-0.21,1.58),(-0.19,1.577),(-0.179,1.57),(-0.171,1.55)],
  [(-1.43,1.667),(-1.426,1.67),(-1.418,1.69),(-1.424,1.71),(-1.43,1.714),(-1.443,1.73),(-1.47,1.746),(-1.48,1.75),(-1.549,1.77),(-1.57,1.787),(-1.579,1.81),(-1.901,1.81),(-1.87,1.789),(-1.83,1.775),(-1.81,1.77),(-1.77,1.755),(-1.725,1.73),(-1.699,1.71),(-1.684,1.69),(-1.68,1.67),(-1.686,1.65),(-1.438,1.65)],
  [(-1.168,1.67),(-1.175,1.69),(-1.19,1.723),(-1.225,1.79),(-1.233,1.81),(-1.362,1.81),(-1.363,1.79),(-1.37,1.77),(-1.38,1.75),(-1.39,1.718),(-1.396,1.71),(-1.398,1.69),(-1.39,1.684),(-1.386,1.67),(-1.369,1.65),(-1.154,1.65)],
  [(-0.767,1.67),(-0.767,1.73),(-0.773,1.81),(-1.022,1.81),(-1.013,1.75),(-1.013,1.71),(-1.017,1.69),(-1.025,1.67),(-1.048,1.65),(-0.77,1.65)],
  [(-0.161,1.67),(-0.174,1.71),(-0.216,1.79),(-0.222,1.81),(-0.642,1.81),(-0.632,1.75),(-0.628,1.71),(-0.629,1.67),(-0.634,1.65),(-0.157,1.65)],
  [(-0.03,1.667),(-0.061,1.65),(0.544,1.65),(0.53,1.67),(0.528,1.69),(0.539,1.71),(0.55,1.718),(0.61,1.733),(0.65,1.737),(0.69,1.738),(0.71,1.736),(0.731,1.73),(0.748,1.71),(0.753,1.69),(0.751,1.65),(1.997,1.65),(2,1.81),(1.873,1.81),(1.867,1.79),(1.85,1.768),(1.83,1.757),(1.81,1.753),(1.77,1.754),(1.75,1.757),(1.73,1.761),(1.7,1.77),(1.67,1.784),(1.664,1.79),(1.65,1.81),(1.468,1.81),(1.464,1.79),(1.454,1.77),(1.45,1.765),(1.432,1.75),(1.41,1.741),(1.39,1.741),(1.37,1.748),(1.35,1.764),(1.333,1.79),(1.327,1.81),(0.973,1.81),(0.95,1.79),(0.93,1.781),(0.91,1.774),(0.892,1.77),(0.85,1.766),(0.83,1.766),(0.809,1.77),(0.79,1.781),(0.784,1.79),(0.776,1.81),(0.452,1.81),(0.45,1.802),(0.443,1.79),(0.43,1.781),(0.41,1.777),(0.37,1.774),(0.33,1.777),(0.31,1.782),(0.288,1.79),(0.267,1.81),(-0.05,1.81),(-0.049,1.79),(-0.044,1.77),(-0.036,1.75),(-0.016,1.71),(-0.013,1.69),(-0.026,1.67)],
  [(-0.775,1.83),(-0.782,1.87),(-0.788,1.89),(-0.809,1.93),(-1.744,1.93),(-1.85,1.901),(-1.87,1.892),(-1.898,1.87),(-1.909,1.85),(-1.911,1.83),(-1.901,1.81),(-1.579,1.81),(-1.58,1.83),(-1.575,1.85),(-1.57,1.857),(-1.55,1.872),(-1.53,1.875),(-1.49,1.872),(-1.45,1.86),(-1.41,1.844),(-1.39,1.838),(-1.375,1.83),(-1.362,1.81),(-1.233,1.81),(-1.233,1.83),(-1.223,1.85),(-1.201,1.87),(-1.17,1.885),(-1.15,1.89),(-1.13,1.892),(-1.11,1.891),(-1.09,1.886),(-1.061,1.87),(-1.05,1.861),(-1.04,1.85),(-1.029,1.83),(-1.022,1.81),(-0.773,1.81)],
  [(-0.221,1.83),(-0.212,1.85),(-0.197,1.87),(-0.17,1.897),(-0.133,1.93),(-0.672,1.93),(-0.658,1.89),(-0.65,1.86),(-0.644,1.83),(-0.642,1.81),(-0.222,1.81)],
  [(0.267,1.81),(0.267,1.83),(0.27,1.834),(0.293,1.85),(0.31,1.855),(0.35,1.863),(0.37,1.865),(0.41,1.861),(0.43,1.854),(0.435,1.85),(0.45,1.83),(0.452,1.81),(0.776,1.81),(0.771,1.83),(0.762,1.85),(0.75,1.87),(0.73,1.891),(0.671,1.93),(0.117,1.93),(0.091,1.91),(0.05,1.887),(-0.01,1.862),(-0.03,1.851),(-0.046,1.83),(-0.05,1.81)],
  [(0.974,1.83),(0.973,1.81),(1.327,1.81),(1.323,1.85),(1.326,1.87),(1.33,1.88),(1.342,1.89),(1.35,1.893),(1.37,1.895),(1.41,1.891),(1.43,1.883),(1.447,1.87),(1.461,1.85),(1.468,1.83),(1.468,1.81),(1.65,1.81),(1.646,1.83),(1.647,1.85),(1.65,1.866),(1.661,1.89),(1.67,1.903),(1.69,1.916),(1.71,1.92),(1.73,1.92),(1.81,1.905),(1.83,1.899),(1.85,1.888),(1.864,1.87),(1.872,1.85),(1.874,1.83),(1.873,1.81),(2,1.81),(1.997,1.93),(1.285,1.93),(1.27,1.926),(1.248,1.93),(0.913,1.93),(0.933,1.89),(0.962,1.85)],
  [(0.67,1.931),(0.655,1.95),(0.65,1.963),(0.643,1.99),(0.63,1.993),(0.59,1.997),(0.51,2),(0.27,2),(0.21,1.997),(0.14,1.99),(0.139,1.97),(0.133,1.95),(0.117,1.93),(0.671,1.93)],
  [(1.996,1.95),(1.995,1.99),(1.99,1.995),(1.81,1.997),(1.69,1.994),(1.53,2),(1.39,2),(1.33,1.995),(1.299,1.99),(1.297,1.95),(1.29,1.933),(1.285,1.93),(1.997,1.93)],
  [(1.23,1.945),(1.226,1.95),(1.219,1.97),(1.215,1.99),(1.19,1.994),(1.11,2),(0.99,2),(0.93,1.996),(0.899,1.99),(0.906,1.95),(0.913,1.93),(1.248,1.93)],
  [(-0.81,1.933),(-0.818,1.95),(-0.82,1.97),(-0.814,1.99),(-0.95,1.999),(-1.19,2),(-1.55,1.998),(-1.683,1.99),(-1.685,1.97),(-1.698,1.95),(-1.744,1.93),(-0.809,1.93)],
  [(-0.13,1.934),(-0.112,1.97),(-0.105,1.99),(-0.15,1.995),(-0.23,1.999),(-0.29,2),(-0.55,2),(-0.61,1.998),(-0.71,1.99),(-0.691,1.97),(-0.672,1.93),(-0.133,1.93)],
  [(-1.999,-1.45),(-1.996,-1.53),(-1.313,-1.53),(-1.31,-1.506),(-1.302,-1.49),(-1.29,-1.48),(-1.27,-1.474),(-1.25,-1.478),(-1.23,-1.493),(-1.219,-1.51),(-1.211,-1.53),(-0.874,-1.53),(-0.87,-1.521),(-0.86,-1.51),(-0.85,-1.506),(-0.81,-1.501),(-0.79,-1.502),(-0.77,-1.509),(-0.766,-1.53),(-0.173,-1.53),(-0.173,-1.51),(-0.18,-1.49),(-0.209,-1.43),(-0.213,-1.41),(-0.205,-1.39),(-0.19,-1.378),(-0.173,-1.371),(-0.173,-1.33),(-0.628,-1.33),(-0.617,-1.37),(-0.616,-1.39),(-0.622,-1.41),(-0.636,-1.43),(-0.65,-1.444),(-0.67,-1.459),(-0.69,-1.469),(-0.71,-1.474),(-0.73,-1.469),(-0.737,-1.45),(-0.741,-1.41),(-0.74,-1.33),(-0.982,-1.33),(-0.97,-1.333),(-0.95,-1.345),(-0.945,-1.35),(-0.929,-1.37),(-0.921,-1.39),(-0.918,-1.41),(-0.919,-1.43),(-0.925,-1.45),(-0.93,-1.456),(-0.95,-1.466),(-0.97,-1.467),(-0.99,-1.464),(-1.01,-1.455),(-1.03,-1.438),(-1.036,-1.43),(-1.046,-1.41),(-1.051,-1.39),(-1.057,-1.35),(-1.063,-1.33),(-2,-1.33),(-1.999,-1.41),(-1.848,-1.41),(-1.848,-1.39),(-1.83,-1.37),(-1.81,-1.366),(-1.79,-1.368),(-1.77,-1.378),(-1.756,-1.39),(-1.752,-1.41),(-1.77,-1.428),(-1.79,-1.433),(-1.81,-1.433),(-1.83,-1.428),(-1.848,-1.41),(-1.999,-1.41)],
  [(0.241,-1.51),(0.252,-1.49),(0.27,-1.47),(0.346,-1.41),(0.37,-1.385),(0.39,-1.369),(0.41,-1.358),(0.447,-1.35),(0.47,-1.348),(0.53,-1.352),(0.57,-1.361),(0.589,-1.37),(0.607,-1.39),(0.609,-1.41),(0.599,-1.43),(0.576,-1.45),(0.55,-1.466),(0.53,-1.484),(0.514,-1.51),(0.506,-1.53),(0.959,-1.53),(0.97,-1.515),(0.99,-1.507),(1.001,-1.51),(1.01,-1.517),(1.015,-1.53),(1.926,-1.53),(1.93,-1.494),(1.938,-1.45),(1.943,-1.43),(1.95,-1.411),(1.97,-1.396),(1.99,-1.394),(1.994,-1.33),(1.645,-1.33),(1.69,-1.355),(1.701,-1.37),(1.706,-1.39),(1.699,-1.41),(1.69,-1.418),(1.67,-1.425),(1.65,-1.426),(1.63,-1.424),(1.61,-1.418),(1.594,-1.41),(1.55,-1.368),(1.504,-1.33),(-0.173,-1.33),(-0.173,-1.371),(-0.15,-1.368),(-0.13,-1.372),(-0.11,-1.392),(-0.104,-1.41),(-0.097,-1.47),(-0.097,-1.49),(-0.102,-1.53),(0.235,-1.53)],
  [(-0.17,-1.521),(-0.173,-1.51),(-0.173,-1.53),(-0.166,-1.53)],
  [(-0.911,0.379),(0.414,0.379),(0.41,0.381),(0.401,0.39),(0.392,0.41),(0.4,0.43),(0.41,0.435),(0.43,0.44),(0.45,0.44),(0.49,0.432),(0.49,0.57),(0.228,0.57),(0.238,0.55),(0.236,0.53),(0.224,0.51),(0.201,0.49),(0.19,0.484),(0.17,0.476),(0.15,0.475),(0.13,0.483),(0.11,0.502),(0.104,0.51),(0.094,0.53),(0.091,0.55),(0.097,0.57),(-0.213,0.57),(-0.23,0.561),(-0.25,0.556),(-0.27,0.56),(-0.284,0.57),(-0.748,0.57),(-0.749,0.55),(-0.758,0.53),(-0.77,0.515),(-0.776,0.51),(-0.79,0.501),(-0.816,0.49),(-0.83,0.486),(-0.85,0.483),(-0.87,0.482),(-0.89,0.483),(-0.909,0.49),(-0.915,0.51),(-0.917,0.57),(-1.085,0.57),(-1.09,0.549),(-1.11,0.527),(-1.13,0.527),(-1.15,0.536),(-1.165,0.55),(-1.173,0.57),(-2,0.57),(-1.997,0.43),(-1.998,0.379),(-1.056,0.379),(-1.048,0.43),(-1.039,0.45),(-1.03,0.458),(-1.01,0.467),(-0.99,0.471),(-0.97,0.472),(-0.95,0.472),(-0.939,0.47),(-0.93,0.466),(-0.923,0.45),(-0.918,0.41),(-0.563,0.41),(-0.56,0.43),(-0.55,0.433),(-0.54,0.43),(-0.53,0.414),(-0.529,0.41),(-0.55,0.405),(-0.563,0.41),(-0.918,0.41)],
  [(0.79,0.39),(0.81,0.4),(0.83,0.404),(0.85,0.403),(0.87,0.393),(0.885,0.379),(1.999,0.379),(1.998,0.45),(1.99,0.566),(1.961,0.55),(1.91,0.527),(1.87,0.516),(1.85,0.512),(1.83,0.511),(1.81,0.512),(1.79,0.517),(1.77,0.526),(1.765,0.53),(1.753,0.55),(1.755,0.57),(1.021,0.57),(1.057,0.53),(1.07,0.521),(1.11,0.503),(1.13,0.491),(1.15,0.466),(1.156,0.45),(1.158,0.43),(1.153,0.41),(1.15,0.406),(1.13,0.392),(1.11,0.389),(1.09,0.394),(1.067,0.41),(1.055,0.43),(1.04,0.47),(1.03,0.487),(1.01,0.501),(0.99,0.507),(0.969,0.51),(0.95,0.519),(0.935,0.53),(0.925,0.55),(0.926,0.57),(0.792,0.57),(0.789,0.55),(0.783,0.53),(0.77,0.511),(0.75,0.497),(0.73,0.49),(0.71,0.487),(0.69,0.488),(0.67,0.492),(0.65,0.501),(0.641,0.51),(0.631,0.53),(0.63,0.535),(0.628,0.55),(0.63,0.57),(0.49,0.57),(0.49,0.432),(0.494,0.43),(0.511,0.41),(0.511,0.39),(0.499,0.379),(0.77,0.379)],
  [(0.19,-1.991),(0.25,-1.995),(0.29,-1.995),(0.373,-1.99),(0.33,-1.953),(0.31,-1.941),(0.29,-1.933),(0.27,-1.929),(0.25,-1.928),(0.221,-1.93),(0.21,-1.934),(0.197,-1.95),(0.19,-1.97),(0.18,-1.99)],
  [(-1.99,1.975),(-1.978,1.99),(-1.99,1.991),(-1.991,1.99),(-1.99,1.975)])

lib.write_gds('POLYGONS.gds')
